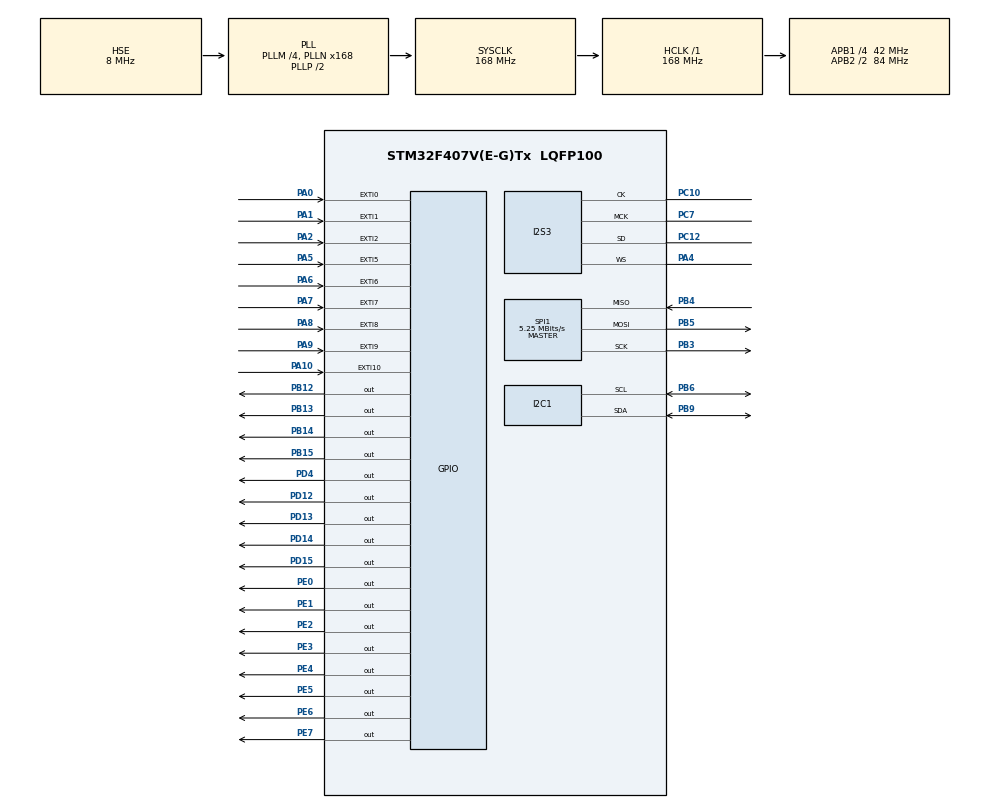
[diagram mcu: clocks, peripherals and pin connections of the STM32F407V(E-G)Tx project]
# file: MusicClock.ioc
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Dma.Request0=SPI3_TX
Dma.SPI3_TX.0.Direction=DMA_MEMORY_TO_PERIPH
Dma.SPI3_TX.0.FIFOMode=DMA_FIFOMODE_ENABLE
Dma.SPI3_TX.0.FIFOThreshold=DMA_FIFO_THRESHOLD_FULL
Dma.SPI3_TX.0.Instance=DMA1_Stream5
Dma.SPI3_TX.0.MemBurst=DMA_MBURST_SINGLE
Dma.SPI3_TX.0.MemDataAlignment=DMA_MDATAALIGN_HALFWORD
Dma.SPI3_TX.0.MemInc=DMA_MINC_ENABLE
Dma.SPI3_TX.0.Mode=DMA_CIRCULAR
Dma.SPI3_TX.0.PeriphBurst=DMA_PBURST_SINGLE
Dma.SPI3_TX.0.PeriphDataAlignment=DMA_PDATAALIGN_HALFWORD
Dma.SPI3_TX.0.PeriphInc=DMA_PINC_DISABLE
Dma.SPI3_TX.0.Priority=DMA_PRIORITY_HIGH
I2S3.AudioFreq=I2S_AUDIOFREQ_44K
I2S3.ErrorAudioFreq=0.26 %
I2S3.FullDuplexMode=I2S_FULLDUPLEXMODE_DISABLE
I2S3.Instance=SPI$Index
I2S3.RealAudioFreq=44.117 KHz
I2S3.VirtualMode=I2S_MODE_MASTER
Mcu.Family=STM32F4
Mcu.Name=STM32F407V(E-G)Tx
Mcu.Package=LQFP100
NVIC.DMA1_Stream5_IRQn=true\:0\:0\:true\:false\:true\:false\:true
NVIC.EXTI0_IRQn=true\:0\:0\:false\:false\:true\:true\:true
NVIC.EXTI15_10_IRQn=true\:0\:0\:false\:false\:true\:true\:true
NVIC.EXTI1_IRQn=true\:0\:0\:false\:false\:true\:true\:true
NVIC.EXTI2_IRQn=true\:0\:0\:false\:false\:true\:true\:true
NVIC.EXTI9_5_IRQn=true\:0\:0\:false\:false\:true\:true\:true
NVIC.I2C1_ER_IRQn=true\:0\:0\:false\:false\:true\:true\:true
NVIC.I2C1_EV_IRQn=true\:0\:0\:false\:false\:true\:true\:true
NVIC.PriorityGroup=NVIC_PRIORITYGROUP_4
NVIC.SPI1_IRQn=true\:0\:0\:true\:false\:true\:true\:true
NVIC.TIM2_IRQn=true\:0\:0\:true\:false\:true\:true\:true
NVIC.TIM3_IRQn=true\:1\:0\:true\:false\:true\:true\:true
NVIC.TIM4_IRQn=true\:0\:0\:true\:false\:true\:true\:true
PA0-WKUP.GPIO_PuPd=GPIO_PULLDOWN
PA0-WKUP.Signal=GPXTI0
PA1.GPIO_PuPd=GPIO_PULLDOWN
PA1.Signal=GPXTI1
PA10.GPIO_PuPd=GPIO_PULLDOWN
PA10.Signal=GPXTI10
PA2.GPIO_PuPd=GPIO_PULLDOWN
PA2.Signal=GPXTI2
PA4.Mode=Half_Duplex_Master
PA4.Signal=I2S3_WS
PA5.GPIO_PuPd=GPIO_PULLDOWN
PA5.Signal=GPXTI5
PA6.GPIO_PuPd=GPIO_PULLDOWN
PA6.Signal=GPXTI6
PA7.GPIO_PuPd=GPIO_PULLDOWN
PA7.Signal=GPXTI7
PA8.GPIO_PuPd=GPIO_PULLDOWN
PA8.Signal=GPXTI8
PA9.GPIO_PuPd=GPIO_PULLDOWN
PA9.Signal=GPXTI9
PB12.Signal=GPIO_Output
PB13.Signal=GPIO_Output
PB14.Signal=GPIO_Output
PB15.Signal=GPIO_Output
PB3.Mode=Full_Duplex_Master
PB3.Signal=SPI1_SCK
PB4.Mode=Full_Duplex_Master
PB4.Signal=SPI1_MISO
PB5.Mode=Full_Duplex_Master
PB5.Signal=SPI1_MOSI
PB6.Mode=I2C
PB6.Signal=I2C1_SCL
PB9.Mode=I2C
PB9.Signal=I2C1_SDA
PC10.Mode=Half_Duplex_Master
PC10.Signal=I2S3_CK
PC12.Mode=Half_Duplex_Master
PC12.Signal=I2S3_SD
PC7.Mode=Master_Clock_Activated
PC7.Signal=I2S3_MCK
PD12.Signal=GPIO_Output
PD13.Signal=GPIO_Output
PD14.Signal=GPIO_Output
PD15.Signal=GPIO_Output
PD4.Signal=GPIO_Output
PE0.Signal=GPIO_Output
PE1.Signal=GPIO_Output
PE2.Signal=GPIO_Output
PE3.Signal=GPIO_Output
PE4.Signal=GPIO_Output
PE5.Signal=GPIO_Output
PE6.Signal=GPIO_Output
PE7.Signal=GPIO_Output
PH0-OSC_IN.Mode=HSE-External-Oscillator
PH0-OSC_IN.Signal=RCC_OSC_IN
PH1-OSC_OUT.Mode=HSE-External-Oscillator
PH1-OSC_OUT.Signal=RCC_OSC_OUT
ProjectManager.HeapSize=0x200
ProjectManager.StackSize=0x400
ProjectManager.TargetToolchain=SW4STM32
RCC.48MHZClocksFreq_Value=84000000
RCC.AHBFreq_Value=168000000
RCC.APB1CLKDivider=RCC_HCLK_DIV4
RCC.APB1Freq_Value=42000000
RCC.APB1TimFreq_Value=84000000
RCC.APB2CLKDivider=RCC_HCLK_DIV2
RCC.APB2Freq_Value=84000000
RCC.APB2TimFreq_Value=168000000
RCC.CortexFreq_Value=168000000
RCC.HCLKFreq_Value=168000000
RCC.HSE_VALUE=8000000
RCC.HSI_VALUE=16000000
RCC.LSE_VALUE=32768
RCC.PLLM=4
RCC.PLLN=168
RCC.PLLSourceVirtual=RCC_PLLSOURCE_HSE
RCC.SYSCLKFreq_VALUE=168000000
RCC.SYSCLKSource=RCC_SYSCLKSOURCE_PLLCLK
RCC.VCOOutputFreq_Value=336000000
SPI1.BaudRatePrescaler=SPI_BAUDRATEPRESCALER_16
SPI1.CalculateBaudRate=5.25 MBits/s
SPI1.Direction=SPI_DIRECTION_2LINES
SPI1.Mode=SPI_MODE_MASTER
SPI1.VirtualType=VM_MASTER
TIM2.Period=10000-1
TIM2.Prescaler=8400-1
TIM3.Period=1000-1
TIM3.Prescaler=84-1
TIM4.Period=975
TIM4.Prescaler=1
VP_TIM2_VS_ClockSourceINT.Mode=Internal
VP_TIM3_VS_ClockSourceINT.Mode=Internal
VP_TIM4_VS_ClockSourceINT.Mode=Internal
board=custom

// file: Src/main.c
/* USER CODE BEGIN Header */
/**
  ******************************************************************************
  * @file           : main.c
  * @brief          : Main program body
  ******************************************************************************
  ** This notice applies to any and all portions of this file
  * that are not between comment pairs USER CODE BEGIN and
  * USER CODE END. Other portions of this file, whether
  * inserted by the user or by software development tools
  * are owned by their respective copyright owners.
  *
  * COPYRIGHT(c) 2019 STMicroelectronics
  *
  * Redistribution and use in source and binary forms, with or without modification,
  * are permitted provided that the following conditions are met:
  *   1. Redistributions of source code must retain the above copyright notice,
  *      this list of conditions and the following disclaimer.
  *   2. Redistributions in binary form must reproduce the above copyright notice,
  *      this list of conditions and the following disclaimer in the documentation
  *      and/or other materials provided with the distribution.
  *   3. Neither the name of STMicroelectronics nor the names of its contributors
  *      may be used to endorse or promote products derived from this software
  *      without specific prior written permission.
  *
  * THIS SOFTWARE IS PROVIDED BY THE COPYRIGHT HOLDERS AND CONTRIBUTORS "AS IS"
  * AND ANY EXPRESS OR IMPLIED WARRANTIES, INCLUDING, BUT NOT LIMITED TO, THE
  * IMPLIED WARRANTIES OF MERCHANTABILITY AND FITNESS FOR A PARTICULAR PURPOSE ARE
  * DISCLAIMED. IN NO EVENT SHALL THE COPYRIGHT HOLDER OR CONTRIBUTORS BE LIABLE
  * FOR ANY DIRECT, INDIRECT, INCIDENTAL, SPECIAL, EXEMPLARY, OR CONSEQUENTIAL
  * DAMAGES (INCLUDING, BUT NOT LIMITED TO, PROCUREMENT OF SUBSTITUTE GOODS OR
  * SERVICES; LOSS OF USE, DATA, OR PROFITS; OR BUSINESS INTERRUPTION) HOWEVER
  * CAUSED AND ON ANY THEORY OF LIABILITY, WHETHER IN CONTRACT, STRICT LIABILITY,
  * OR TORT (INCLUDING NEGLIGENCE OR OTHERWISE) ARISING IN ANY WAY OUT OF THE USE
  * OF THIS SOFTWARE, EVEN IF ADVISED OF THE POSSIBILITY OF SUCH DAMAGE.
  *
  ******************************************************************************
  */
/* USER CODE END Header */

#include "main.h"

/* USER CODE BEGIN Includes */
#include "stdio.h"
#include "ff.h"
#include "stdlib.h"
#include "string.h"
#include "stdarg.h"
#include "pgmspace.h"
#include <stdbool.h>
#include "MY_CS43L22.h"
#include <math.h>
#include "display.h"
#include "music.h"
/* USER CODE END Includes */

I2C_HandleTypeDef hi2c1;

I2S_HandleTypeDef hi2s3;
DMA_HandleTypeDef hdma_spi3_tx;

SPI_HandleTypeDef hspi1;

TIM_HandleTypeDef htim2;
TIM_HandleTypeDef htim3;
TIM_HandleTypeDef htim4;

void SystemClock_Config(void);

static void MX_GPIO_Init(void);

static void MX_DMA_Init(void);

static void MX_I2C1_Init(void);

static void MX_I2S3_Init(void);

static void MX_TIM3_Init(void);

static void MX_TIM4_Init(void);

static void MX_SPI1_Init(void);

static void MX_TIM2_Init(void);

int main(void) {
    /* USER CODE BEGIN 1 */
    getRTC();
    /* USER CODE END 1 */

    /* MCU Configuration--------------------------------------------------------*/

    /* Reset of all peripherals, Initializes the Flash interface and the Systick. */
    HAL_Init();

    /* Configure the system clock */
    SystemClock_Config();

    /* Initialize all configured peripherals */
    MX_GPIO_Init();
    MX_DMA_Init();
    MX_I2C1_Init();
    MX_I2S3_Init();
    MX_TIM3_Init();
    MX_TIM4_Init();
    MX_SPI1_Init();
    MX_TIM2_Init();
    /* USER CODE BEGIN 2 */
    CS43_SetVolume(40);
    CS43_Init(hi2c1, MODE_I2S);
    CS43_Enable_RightLeft(CS43_RIGHT_LEFT);
    CS43_Start();
    HAL_TIM_Base_Start_IT(&htim2);
    HAL_TIM_Base_Start_IT(&htim3);

    fresult = f_mount(&FatFs, "", 0);
    map_filenames();
    strcpy(currentFileName, fileNames[currentFile]);
    startSong(currentFileName);
    /* USER CODE END 2 */

    /* Infinite loop */
    while (1) {

    }
}

void SystemClock_Config(void) {
    RCC_OscInitTypeDef RCC_OscInitStruct = {0};
    RCC_ClkInitTypeDef RCC_ClkInitStruct = {0};
    RCC_PeriphCLKInitTypeDef PeriphClkInitStruct = {0};

    /** Configure the main internal regulator output voltage
    */
    __HAL_RCC_PWR_CLK_ENABLE();
    __HAL_PWR_VOLTAGESCALING_CONFIG(PWR_REGULATOR_VOLTAGE_SCALE1);
    /** Initializes the CPU, AHB and APB busses clocks
    */
    RCC_OscInitStruct.OscillatorType = RCC_OSCILLATORTYPE_HSE;
    RCC_OscInitStruct.HSEState = RCC_HSE_ON;
    RCC_OscInitStruct.PLL.PLLState = RCC_PLL_ON;
    RCC_OscInitStruct.PLL.PLLSource = RCC_PLLSOURCE_HSE;
    RCC_OscInitStruct.PLL.PLLM = 4;
    RCC_OscInitStruct.PLL.PLLN = 168;
    RCC_OscInitStruct.PLL.PLLP = RCC_PLLP_DIV2;
    RCC_OscInitStruct.PLL.PLLQ = 4;
    if (HAL_RCC_OscConfig(&RCC_OscInitStruct) != HAL_OK) {
        Error_Handler();
    }
    /** Initializes the CPU, AHB and APB busses clocks
    */
    RCC_ClkInitStruct.ClockType = RCC_CLOCKTYPE_HCLK | RCC_CLOCKTYPE_SYSCLK
                                  | RCC_CLOCKTYPE_PCLK1 | RCC_CLOCKTYPE_PCLK2;
    RCC_ClkInitStruct.SYSCLKSource = RCC_SYSCLKSOURCE_PLLCLK;
    RCC_ClkInitStruct.AHBCLKDivider = RCC_SYSCLK_DIV1;
    RCC_ClkInitStruct.APB1CLKDivider = RCC_HCLK_DIV4;
    RCC_ClkInitStruct.APB2CLKDivider = RCC_HCLK_DIV2;

    if (HAL_RCC_ClockConfig(&RCC_ClkInitStruct, FLASH_LATENCY_5) != HAL_OK) {
        Error_Handler();
    }
    PeriphClkInitStruct.PeriphClockSelection = RCC_PERIPHCLK_I2S;
    PeriphClkInitStruct.PLLI2S.PLLI2SN = 192;
    PeriphClkInitStruct.PLLI2S.PLLI2SR = 2;
    if (HAL_RCCEx_PeriphCLKConfig(&PeriphClkInitStruct) != HAL_OK) {
        Error_Handler();
    }
}

static void MX_I2C1_Init(void) {

    hi2c1.Instance = I2C1;
    hi2c1.Init.ClockSpeed = 100000;
    hi2c1.Init.DutyCycle = I2C_DUTYCYCLE_2;
    hi2c1.Init.OwnAddress1 = 0;
    hi2c1.Init.AddressingMode = I2C_ADDRESSINGMODE_7BIT;
    hi2c1.Init.DualAddressMode = I2C_DUALADDRESS_DISABLE;
    hi2c1.Init.OwnAddress2 = 0;
    hi2c1.Init.GeneralCallMode = I2C_GENERALCALL_DISABLE;
    hi2c1.Init.NoStretchMode = I2C_NOSTRETCH_DISABLE;
    if (HAL_I2C_Init(&hi2c1) != HAL_OK) {
        Error_Handler();
    }

}

static void MX_I2S3_Init(void) {

    hi2s3.Instance = SPI3;
    hi2s3.Init.Mode = I2S_MODE_MASTER_TX;
    hi2s3.Init.Standard = I2S_STANDARD_PHILIPS;
    hi2s3.Init.DataFormat = I2S_DATAFORMAT_16B;
    hi2s3.Init.MCLKOutput = I2S_MCLKOUTPUT_ENABLE;
    hi2s3.Init.AudioFreq = I2S_AUDIOFREQ_44K;
    hi2s3.Init.CPOL = I2S_CPOL_LOW;
    hi2s3.Init.ClockSource = I2S_CLOCK_PLL;
    hi2s3.Init.FullDuplexMode = I2S_FULLDUPLEXMODE_DISABLE;
    if (HAL_I2S_Init(&hi2s3) != HAL_OK) {
        Error_Handler();
    }

}

static void MX_SPI1_Init(void) {

    /* SPI1 parameter configuration*/
    hspi1.Instance = SPI1;
    hspi1.Init.Mode = SPI_MODE_MASTER;
    hspi1.Init.Direction = SPI_DIRECTION_2LINES;
    hspi1.Init.DataSize = SPI_DATASIZE_8BIT;
    hspi1.Init.CLKPolarity = SPI_POLARITY_LOW;
    hspi1.Init.CLKPhase = SPI_PHASE_1EDGE;
    hspi1.Init.NSS = SPI_NSS_SOFT;
    hspi1.Init.BaudRatePrescaler = SPI_BAUDRATEPRESCALER_16;
    hspi1.Init.FirstBit = SPI_FIRSTBIT_MSB;
    hspi1.Init.TIMode = SPI_TIMODE_DISABLE;
    hspi1.Init.CRCCalculation = SPI_CRCCALCULATION_DISABLE;
    hspi1.Init.CRCPolynomial = 10;
    if (HAL_SPI_Init(&hspi1) != HAL_OK) {
        Error_Handler();
    }

}

static void MX_TIM2_Init(void) {

    TIM_ClockConfigTypeDef sClockSourceConfig = {0};
    TIM_MasterConfigTypeDef sMasterConfig = {0};

    htim2.Instance = TIM2;
    htim2.Init.Prescaler = 8400 - 1;
    htim2.Init.CounterMode = TIM_COUNTERMODE_UP;
    htim2.Init.Period = 10000 - 1;
    htim2.Init.ClockDivision = TIM_CLOCKDIVISION_DIV1;
    htim2.Init.AutoReloadPreload = TIM_AUTORELOAD_PRELOAD_DISABLE;
    if (HAL_TIM_Base_Init(&htim2) != HAL_OK) {
        Error_Handler();
    }
    sClockSourceConfig.ClockSource = TIM_CLOCKSOURCE_INTERNAL;
    if (HAL_TIM_ConfigClockSource(&htim2, &sClockSourceConfig) != HAL_OK) {
        Error_Handler();
    }
    sMasterConfig.MasterOutputTrigger = TIM_TRGO_RESET;
    sMasterConfig.MasterSlaveMode = TIM_MASTERSLAVEMODE_DISABLE;
    if (HAL_TIMEx_MasterConfigSynchronization(&htim2, &sMasterConfig) != HAL_OK) {
        Error_Handler();
    }

}

static void MX_TIM3_Init(void) {

    TIM_ClockConfigTypeDef sClockSourceConfig = {0};
    TIM_MasterConfigTypeDef sMasterConfig = {0};

    htim3.Instance = TIM3;
    htim3.Init.Prescaler = 84 - 1;
    htim3.Init.CounterMode = TIM_COUNTERMODE_UP;
    htim3.Init.Period = 1000 - 1;
    htim3.Init.ClockDivision = TIM_CLOCKDIVISION_DIV1;
    htim3.Init.AutoReloadPreload = TIM_AUTORELOAD_PRELOAD_DISABLE;
    if (HAL_TIM_Base_Init(&htim3) != HAL_OK) {
        Error_Handler();
    }
    sClockSourceConfig.ClockSource = TIM_CLOCKSOURCE_INTERNAL;
    if (HAL_TIM_ConfigClockSource(&htim3, &sClockSourceConfig) != HAL_OK) {
        Error_Handler();
    }
    sMasterConfig.MasterOutputTrigger = TIM_TRGO_RESET;
    sMasterConfig.MasterSlaveMode = TIM_MASTERSLAVEMODE_DISABLE;
    if (HAL_TIMEx_MasterConfigSynchronization(&htim3, &sMasterConfig) != HAL_OK) {
        Error_Handler();
    }

}

static void MX_TIM4_Init(void) {

    TIM_ClockConfigTypeDef sClockSourceConfig = {0};
    TIM_MasterConfigTypeDef sMasterConfig = {0};

    htim4.Instance = TIM4;
    htim4.Init.Prescaler = 1;
    htim4.Init.CounterMode = TIM_COUNTERMODE_UP;
    htim4.Init.Period = 975;
    htim4.Init.ClockDivision = TIM_CLOCKDIVISION_DIV1;
    htim4.Init.AutoReloadPreload = TIM_AUTORELOAD_PRELOAD_DISABLE;
    if (HAL_TIM_Base_Init(&htim4) != HAL_OK) {
        Error_Handler();
    }
    sClockSourceConfig.ClockSource = TIM_CLOCKSOURCE_INTERNAL;
    if (HAL_TIM_ConfigClockSource(&htim4, &sClockSourceConfig) != HAL_OK) {
        Error_Handler();
    }
    sMasterConfig.MasterOutputTrigger = TIM_TRGO_RESET;
    sMasterConfig.MasterSlaveMode = TIM_MASTERSLAVEMODE_DISABLE;
    if (HAL_TIMEx_MasterConfigSynchronization(&htim4, &sMasterConfig) != HAL_OK) {
        Error_Handler();
    }

}

static void MX_DMA_Init(void) {
    /* DMA controller clock enable */
    __HAL_RCC_DMA1_CLK_ENABLE();

    /* DMA interrupt init */
    /* DMA1_Stream5_IRQn interrupt configuration */
    HAL_NVIC_SetPriority(DMA1_Stream5_IRQn, 0, 0);
    HAL_NVIC_EnableIRQ(DMA1_Stream5_IRQn);

}

static void MX_GPIO_Init(void) {
    GPIO_InitTypeDef GPIO_InitStruct = {0};

    /* GPIO Ports Clock Enable */
    __HAL_RCC_GPIOE_CLK_ENABLE();
    __HAL_RCC_GPIOH_CLK_ENABLE();
    __HAL_RCC_GPIOA_CLK_ENABLE();
    __HAL_RCC_GPIOB_CLK_ENABLE();
    __HAL_RCC_GPIOD_CLK_ENABLE();
    __HAL_RCC_GPIOC_CLK_ENABLE();

    /*Configure GPIO pin Output Level */
    HAL_GPIO_WritePin(GPIOE, GPIO_PIN_2 | GPIO_PIN_3 | GPIO_PIN_4 | GPIO_PIN_5
                             | GPIO_PIN_6 | GPIO_PIN_7 | GPIO_PIN_0 | GPIO_PIN_1, GPIO_PIN_RESET);

    /*Configure GPIO pin Output Level */
    HAL_GPIO_WritePin(GPIOB, GPIO_PIN_12 | GPIO_PIN_13 | GPIO_PIN_14 | GPIO_PIN_15, GPIO_PIN_RESET);

    /*Configure GPIO pin Output Level */
    HAL_GPIO_WritePin(GPIOD, GPIO_PIN_12 | GPIO_PIN_13 | GPIO_PIN_14 | GPIO_PIN_15
                             | GPIO_PIN_4, GPIO_PIN_RESET);

    /*Configure GPIO pins : PE2 PE3 PE4 PE5
                             PE6 PE7 PE0 PE1 */
    GPIO_InitStruct.Pin = GPIO_PIN_2 | GPIO_PIN_3 | GPIO_PIN_4 | GPIO_PIN_5
                          | GPIO_PIN_6 | GPIO_PIN_7 | GPIO_PIN_0 | GPIO_PIN_1;
    GPIO_InitStruct.Mode = GPIO_MODE_OUTPUT_PP;
    GPIO_InitStruct.Pull = GPIO_NOPULL;
    GPIO_InitStruct.Speed = GPIO_SPEED_FREQ_LOW;
    HAL_GPIO_Init(GPIOE, &GPIO_InitStruct);

    /*Configure GPIO pins : PA0 PA1 PA2 PA5
                             PA6 PA7 PA8 PA9
                             PA10 */
    GPIO_InitStruct.Pin = GPIO_PIN_0 | GPIO_PIN_1 | GPIO_PIN_2 | GPIO_PIN_5
                          | GPIO_PIN_6 | GPIO_PIN_7 | GPIO_PIN_8 | GPIO_PIN_9
                          | GPIO_PIN_10;
    GPIO_InitStruct.Mode = GPIO_MODE_IT_RISING;
    GPIO_InitStruct.Pull = GPIO_PULLDOWN;
    HAL_GPIO_Init(GPIOA, &GPIO_InitStruct);

    /*Configure GPIO pins : PB12 PB13 PB14 PB15 */
    GPIO_InitStruct.Pin = GPIO_PIN_12 | GPIO_PIN_13 | GPIO_PIN_14 | GPIO_PIN_15;
    GPIO_InitStruct.Mode = GPIO_MODE_OUTPUT_PP;
    GPIO_InitStruct.Pull = GPIO_NOPULL;
    GPIO_InitStruct.Speed = GPIO_SPEED_FREQ_LOW;
    HAL_GPIO_Init(GPIOB, &GPIO_InitStruct);

    /*Configure GPIO pins : PD12 PD13 PD14 PD15
                             PD4 */
    GPIO_InitStruct.Pin = GPIO_PIN_12 | GPIO_PIN_13 | GPIO_PIN_14 | GPIO_PIN_15
                          | GPIO_PIN_4;
    GPIO_InitStruct.Mode = GPIO_MODE_OUTPUT_PP;
    GPIO_InitStruct.Pull = GPIO_NOPULL;
    GPIO_InitStruct.Speed = GPIO_SPEED_FREQ_LOW;
    HAL_GPIO_Init(GPIOD, &GPIO_InitStruct);

    /* EXTI interrupt init*/
    HAL_NVIC_SetPriority(EXTI0_IRQn, 0, 0);
    HAL_NVIC_EnableIRQ(EXTI0_IRQn);

    HAL_NVIC_SetPriority(EXTI1_IRQn, 0, 0);
    HAL_NVIC_EnableIRQ(EXTI1_IRQn);

    HAL_NVIC_SetPriority(EXTI2_IRQn, 0, 0);
    HAL_NVIC_EnableIRQ(EXTI2_IRQn);

    HAL_NVIC_SetPriority(EXTI9_5_IRQn, 0, 0);
    HAL_NVIC_EnableIRQ(EXTI9_5_IRQn);

    HAL_NVIC_SetPriority(EXTI15_10_IRQn, 0, 0);
    HAL_NVIC_EnableIRQ(EXTI15_10_IRQn);

}

/* USER CODE BEGIN 4 */
/*
void HAL_TIM_PeriodElapsedCallback(TIM_HandleTypeDef *htim){

	UNUSED(htim);

	if(htim->Instance == TIM2){
		mySinValue = sinf(i_t * 2 * PI * sample_dt);
		myDacVal = (mySinValue + 1)*127;
		//HAL_DAC_SetValue(&hdac, DAC_CHANNEL_1, DAC_ALIGN_8B_R, myDacVal);

		i_t++;
		if(i_t>=sample_N) i_t=0;
	}

}*/
/* USER CODE END 4 */

void Error_Handler(void) {
}

/************************ (C) COPYRIGHT STMicroelectronics *****END OF FILE****/
